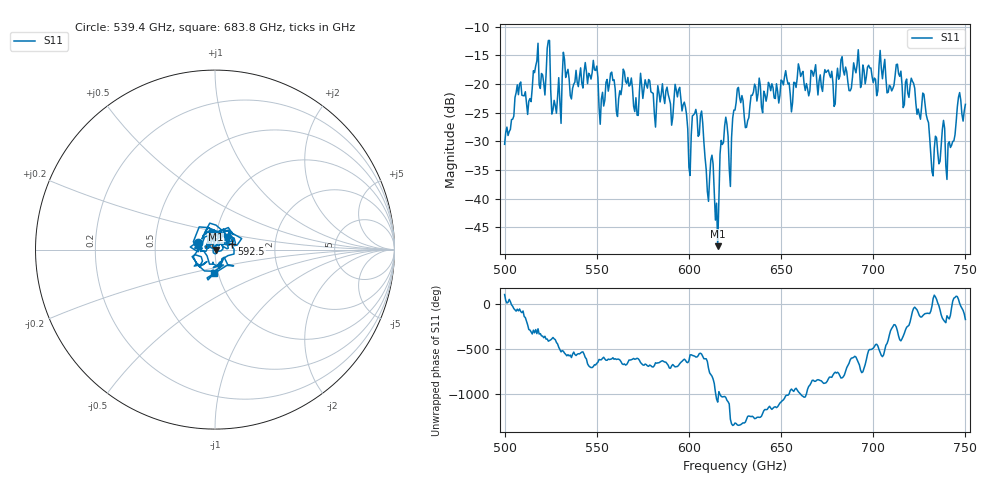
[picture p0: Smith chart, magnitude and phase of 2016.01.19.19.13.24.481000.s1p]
!Created with skrf (http://scikit-rf.org).
# GHz S RI R 50.0
!freq ReS11 ImS11
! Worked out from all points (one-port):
!   401 points, 500 GHz to 750 GHz, reference 50 ohm
!   lowest |S11| = -48.3 dB at 615.6 GHz (marker M1), VSWR 1.01, Z = 50.4 - j0.0989 ohm
!   |S11| at or under -10 dB: start of sweep to end of sweep
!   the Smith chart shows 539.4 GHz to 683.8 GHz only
!   S11 on the Smith chart (normalised r, x): 539.4 GHz: 0.82, +0.06; 592.5 GHz: 1.20, +0.08; 683.8 GHz: 0.96, -0.26
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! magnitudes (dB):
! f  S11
! 500 GHz  -30.5
! 507.5 GHz  -21.8
! 513.1 GHz  -23.0
! 516.9 GHz  -16.8
! 520.6 GHz  -18.4
! 523.8 GHz  -12.4
! 526.9 GHz  -22.8
! 531.2 GHz  -18.7
! 539.4 GHz  -19.7
! 562.5 GHz  -21.2
! 592.5 GHz  -20.0
! 593.8 GHz  -22.2
! 600 GHz  -34.5
! 603.1 GHz  -25.1
! 606.9 GHz  -24.7
! 610 GHz  -38.7
! 615.6 GHz  -48.3
! 618.8 GHz  -30.2
! 622.5 GHz  -37.8
! 625 GHz  -24.5
! 656.2 GHz  -23.2
! 683.8 GHz  -17.6
! 687.5 GHz  -21.2
! 690.6 GHz  -18.0
! 718.8 GHz  -21.6
! 728.1 GHz  -23.6
! 731.9 GHz  -35.3
! 750 GHz  -23.5
